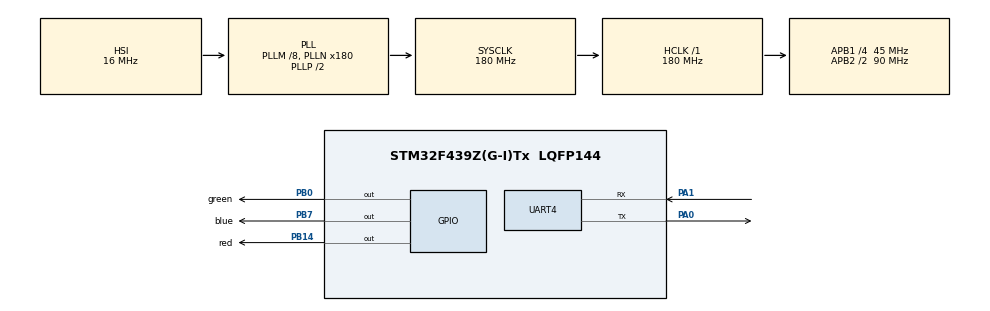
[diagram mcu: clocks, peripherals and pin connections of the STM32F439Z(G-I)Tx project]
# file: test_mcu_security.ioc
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IWDG.Prescaler=IWDG_PRESCALER_32
IWDG.Reload=3000
Mcu.Family=STM32F4
Mcu.Name=STM32F439Z(G-I)Tx
Mcu.Package=LQFP144
NVIC.PriorityGroup=NVIC_PRIORITYGROUP_4
PA0/WKUP.Mode=Asynchronous
PA0/WKUP.Signal=UART4_TX
PA1.Mode=Asynchronous
PA1.Signal=UART4_RX
PB0.GPIO_Label=green
PB0.Signal=GPIO_Output
PB14.GPIO_Label=red
PB14.Signal=GPIO_Output
PB7.GPIO_Label=blue
PB7.Signal=GPIO_Output
ProjectManager.HeapSize=0x200
ProjectManager.StackSize=0x400
ProjectManager.TargetToolchain=STM32CubeIDE
RCC.48MHZClocksFreq_Value=45000000
RCC.AHBFreq_Value=180000000
RCC.APB1CLKDivider=RCC_HCLK_DIV4
RCC.APB1Freq_Value=45000000
RCC.APB1TimFreq_Value=90000000
RCC.APB2CLKDivider=RCC_HCLK_DIV2
RCC.APB2Freq_Value=90000000
RCC.APB2TimFreq_Value=180000000
RCC.CortexFreq_Value=180000000
RCC.HCLKFreq_Value=180000000
RCC.HSE_VALUE=25000000
RCC.HSI_VALUE=16000000
RCC.LSE_VALUE=32768
RCC.PLLM=8
RCC.PLLN=180
RCC.PLLQ=8
RCC.SYSCLKFreq_VALUE=180000000
RCC.SYSCLKSource=RCC_SYSCLKSOURCE_PLLCLK
RCC.VCOOutputFreq_Value=360000000
UART4.VirtualMode=Asynchronous
VP_IWDG_VS_IWDG.Mode=IWDG_Activate
VP_RNG_VS_RNG.Mode=RNG_Activate
VP_RTC_VS_RTC_Activate.Mode=RTC_Enabled
VP_wolfSSL.I-CUBE-wolfSSL_VS_wolfSSLJjwolfSSL_5.5.4_5.5.4.Mode=wolfSSLJjwolfSSL
board=custom
wolfSSL.I-CUBE-wolfSSL.5.5.4.WOLF_CONF_AESGCM=0
wolfSSL.I-CUBE-wolfSSL.5.5.4.WOLF_CONF_DH=0
wolfSSL.I-CUBE-wolfSSL.5.5.4.WOLF_CONF_ECC=1
wolfSSL.I-CUBE-wolfSSL.5.5.4.WOLF_CONF_OPENSSL_EXTRA=2
wolfSSL.I-CUBE-wolfSSL.5.5.4.WOLF_CONF_TEST=0
wolfSSL.I-CUBE-wolfSSL.5.5.4.WOLF_CONF_TLS12=0
wolfSSL.I-CUBE-wolfSSL.5.5.4.wolfSSLCcwolfSSLJjwolfCryptJjCore=true
wolfSSL.I-CUBE-wolfSSL.5.5.4.wolfSSLCcwolfSSLJjwolfSSLJjCore=true

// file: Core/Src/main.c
/* USER CODE BEGIN Header */
/**
 ******************************************************************************
 * @file           : main.c
 * @brief          : Main program body
 ******************************************************************************
 * @attention
 *
 * Copyright (c) 2023 STMicroelectronics.
 * All rights reserved.
 *
 * This software is licensed under terms that can be found in the LICENSE file
 * in the root directory of this software component.
 * If no LICENSE file comes with this software, it is provided AS-IS.
 *
 ******************************************************************************
 */
/* USER CODE END Header */
#include "main.h"
#include "iwdg.h"
#include "rng.h"
#include "rtc.h"
#include "usart.h"
#include "gpio.h"

/* USER CODE BEGIN Includes */
#include "stdio.h"
#include "boot_manager.h"
/* USER CODE END Includes */

void SystemClock_Config(void);

int main(void)
{

		  /* MCU Configuration--------------------------------------------------------*/

		  /* Reset of all peripherals, Initializes the Flash interface and the Systick. */
		  HAL_Init();

		  /* Configure the system clock */
		  SystemClock_Config();

		  /* USER CODE BEGIN SysInit */
		  MX_RTC_Init();

		uint8_t Attempt_counter = read_backup_reg(0);
		Attempt_counter++;
		write_backup_reg(0x00 ,Attempt_counter);
		if(Attempt_counter > 3){
			write_backup_reg(0x00, 0x00);
			//swap banks
			bootloader_switch_to_inactive_bank();
			bootloader_reboot();
		}else{
			//continue in the main function
		}
		  /* USER CODE END SysInit */

		  /* Initialize all configured peripherals */
		  MX_GPIO_Init();
		  MX_RNG_Init();
		  MX_UART4_Init();
		  MX_IWDG_Init();
		  HAL_IWDG_Refresh(&hiwdg);
		  /* USER CODE BEGIN 2 */

		  int ret = secure_boot_verify();
		  if(ret == SUCCEEDED){
			  //jump to application
			  HAL_GPIO_WritePin(blue_GPIO_Port, blue_Pin, GPIO_PIN_SET);
			  HAL_Delay(1000);
			 jump_to_application(MAIN_APPLICATION_START_ADDRESS);

		  }else{
			  HAL_GPIO_WritePin(red_GPIO_Port, red_Pin, GPIO_PIN_SET);
		  }

		  /* USER CODE END 2 */

		  /* Infinite loop */
		  while (1)
		  {

		  }

}

void SystemClock_Config(void)
{
  RCC_OscInitTypeDef RCC_OscInitStruct = {0};
  RCC_ClkInitTypeDef RCC_ClkInitStruct = {0};

  /** Configure the main internal regulator output voltage
  */
  __HAL_RCC_PWR_CLK_ENABLE();
  __HAL_PWR_VOLTAGESCALING_CONFIG(PWR_REGULATOR_VOLTAGE_SCALE1);

  /** Initializes the RCC Oscillators according to the specified parameters
  * in the RCC_OscInitTypeDef structure.
  */
  RCC_OscInitStruct.OscillatorType = RCC_OSCILLATORTYPE_HSI|RCC_OSCILLATORTYPE_LSI;
  RCC_OscInitStruct.HSIState = RCC_HSI_ON;
  RCC_OscInitStruct.HSICalibrationValue = RCC_HSICALIBRATION_DEFAULT;
  RCC_OscInitStruct.LSIState = RCC_LSI_ON;
  RCC_OscInitStruct.PLL.PLLState = RCC_PLL_ON;
  RCC_OscInitStruct.PLL.PLLSource = RCC_PLLSOURCE_HSI;
  RCC_OscInitStruct.PLL.PLLM = 8;
  RCC_OscInitStruct.PLL.PLLN = 180;
  RCC_OscInitStruct.PLL.PLLP = RCC_PLLP_DIV2;
  RCC_OscInitStruct.PLL.PLLQ = 8;
  if (HAL_RCC_OscConfig(&RCC_OscInitStruct) != HAL_OK)
  {
    Error_Handler();
  }

  /** Activate the Over-Drive mode
  */
  if (HAL_PWREx_EnableOverDrive() != HAL_OK)
  {
    Error_Handler();
  }

  /** Initializes the CPU, AHB and APB buses clocks
  */
  RCC_ClkInitStruct.ClockType = RCC_CLOCKTYPE_HCLK|RCC_CLOCKTYPE_SYSCLK
                              |RCC_CLOCKTYPE_PCLK1|RCC_CLOCKTYPE_PCLK2;
  RCC_ClkInitStruct.SYSCLKSource = RCC_SYSCLKSOURCE_PLLCLK;
  RCC_ClkInitStruct.AHBCLKDivider = RCC_SYSCLK_DIV1;
  RCC_ClkInitStruct.APB1CLKDivider = RCC_HCLK_DIV4;
  RCC_ClkInitStruct.APB2CLKDivider = RCC_HCLK_DIV2;

  if (HAL_RCC_ClockConfig(&RCC_ClkInitStruct, FLASH_LATENCY_5) != HAL_OK)
  {
    Error_Handler();
  }
}

void Error_Handler(void)
{
	__disable_irq();
	while (1)
	{
	}
}
